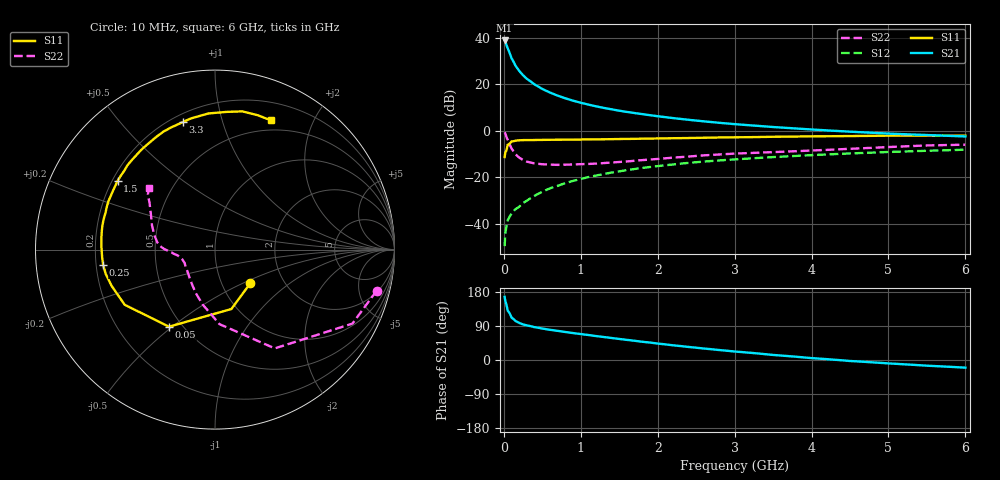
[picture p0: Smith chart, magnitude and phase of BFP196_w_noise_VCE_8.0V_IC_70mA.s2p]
! (c) 2017  Infineon Technologies AG, Munich
! Infineon Technologies  Discrete & RF Semiconductors
! BFP196
! VCE =  8.0 V,  IC =  70 mA
! Common Emitter S-Parameters:  Jan 2017
# GHz  S  MA  R  50
!  f  S11  S21  S12  S22
! GHz  MAG  ANG  MAG  ANG  MAG  ANG  MAG  ANG
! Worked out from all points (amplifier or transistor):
!   77 points, 10 MHz to 6 GHz, reference 50 ohm
!   highest |S21| = 38.8 dB at 10 MHz (marker M1)
!   |S21| within 3 dB of that: start of sweep to 45.68 MHz
!   unconditionally stable (mu >= 1): 492.9 MHz to 2.419 GHz
!   at 130 MHz: K = 0.66, MSG = 32.0 dB, |S12| = -34.5 dB
!   at 2.2 GHz: K = 1.01, MAG = 9.4 dB, |S12| = -14.5 dB
!   at 6 GHz: K = 0.94, MSG = 2.8 dB, |S12| = -8.1 dB
!   lowest NFmin = 1.68 dB at 450 MHz
!   S11 on the Smith chart (normalised r, x): 10 MHz: 1.37, -0.55; 50 MHz: 0.43, -0.49; 250 MHz: 0.23, -0.06; 1.5 GHz: 0.22, +0.30; 3.3 GHz: 0.24, +0.75; 6 GHz: 0.39, +1.45
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0.01  0.2717 -43.3  87.4 166.7  0.0033 78.9  0.929 -14.3
0.02  0.3433 -74.6  82.27 155.2  0.0064 73.4  0.8697 -28.3
0.05  0.5002 -120.8  59.29 130.4  0.0119 56.6  0.6434 -58.8
0.1  0.5897 -148.6  36.28 111.7  0.0165 54.1  0.416 -86.6
0.15  0.6108 -160.8  25.33 103.1  0.0205 57.1  0.3139 -102.6
0.2  0.6235 -167.3  19.32 97.8  0.0233 60.6  0.264 -114.1
0.25  0.6291 -172.3  15.59 93.9  0.028 62.4  0.2343 -122.6
0.3  0.6303 -175.7  13.04 91.2  0.0315 64.5  0.2165 -129.7
0.4  0.6327 179.0  9.875 86.6  0.04 66.2  0.1986 -139.6
0.5  0.6361 174.4  7.913 83.0  0.0488 67.9  0.1905 -146.7
0.6  0.639 170.8  6.626 79.7  0.0579 67.2  0.1874 -152.2
0.7  0.6417 167.7  5.681 76.9  0.0654 68.1  0.1847 -156.2
0.9  0.6438 161.3  4.427 71.1  0.0835 66.9  0.1883 -161.4
1.1  0.6523 155.6  3.649 65.9  0.1009 65.2  0.1935 -165.4
1.5  0.6644 144.7  2.699 55.6  0.134 60.4  0.2132 -171.6
2.1  0.6862 128.9  1.96 41.2  0.1811 52.4  0.2559 -177.7
2.6  0.7077 117.6  1.593 30.3  0.2176 45.6  0.2958 177.7
3.1  0.7258 107.7  1.349 20.8  0.2478 38.9  0.3274 171.8
3.3  0.7328 104.1  1.274 17.3  0.2595 36.4  0.3372 169.1
4.1  0.7604 91.2  1.042 3.6  0.3041 26.7  0.382 157.3
5.1  0.7842 77.5  0.856 -10.1  0.3535 15.1  0.4536 143.8
6  0.7847 66.6  0.754 -20.2  0.3917 5.1  0.5022 137.0
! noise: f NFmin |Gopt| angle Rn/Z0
0.45  1.68  0.46  -172  0.06
0.9  1.84  0.5  -159  0.09
1.9  2.66  0.69  -131  0.36
2.4  3.05  0.7  -117  0.79
